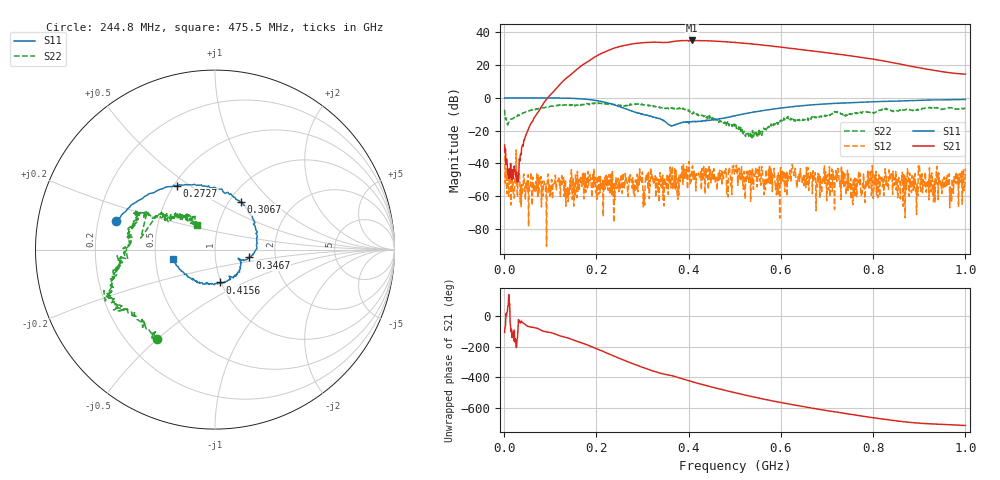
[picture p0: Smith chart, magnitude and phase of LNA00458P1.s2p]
! Created with skrf 1.9.0 (http://scikit-rf.org).
# Hz S RI R 50.0
!freq ReS11 ImS11 ReS21 ImS21 ReS12 ImS12 ReS22 ImS22
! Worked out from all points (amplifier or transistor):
!   1001 points, 1 MHz to 1 GHz, reference 50 ohm
!   highest |S21| = 35.0 dB at 406.6 MHz (marker M1)
!   |S21| within 3 dB of that: 262 MHz to 566.3 MHz (304.3 MHz wide, 73.5 % of centre) (the widest 1 of 2)
!   unconditionally stable (mu >= 1): 217.8 MHz to 293.5 MHz; 317.7 MHz to 388.5 MHz; 388.7 MHz to end of sweep (the widest 3 of 35)
!   at 166.8 MHz: K = 0.88, MSG = 34.0 dB, |S12| = -48.6 dB
!   at 500.5 MHz: K = 1.78, MAG = 34.3 dB, |S12| = -44.9 dB
!   at 1 GHz: K = 1.88, MAG = 23.4 dB, |S12| = -43.1 dB
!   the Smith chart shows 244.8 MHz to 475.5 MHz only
!   S11 on the Smith chart (normalised r, x): 244.8 MHz: 0.28, +0.13; 272.7 MHz: 0.52, +0.45; 306.7 MHz: 1.13, +0.66; 346.7 MHz: 1.47, -0.13; 415.6 MHz: 0.98, -0.37; 475.5 MHz: 0.61, -0.07
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1000000  0.9851 0.012  -0.0117 -0.0346  -0.0272 0.0135  0.3004 0.3134
1.09891e8  0.5133 -0.8512  -0.795 -1.529  -0.00266 0.000669  0.4454 -0.3719
1.67833e8  -0.2248 -0.9045  -9.603 -0.8001  0.00249 -0.000608  0.0565 -0.6321
2.11789e8  -0.6772 -0.3666  -15.57 17.01  0.000813 -0.00221  -0.1784 -0.6403
2.44756e8  -0.5521 0.1599  -0.2349 35.14  -0.00166 -0.000362  -0.3246 -0.4975
2.72728e8  -0.2114 0.3548  23.77 36.1  0.00283 -0.00305  -0.5562 -0.3215
3.06694e8  0.1425 0.2659  46.33 15.39  -0.00213 0.00271  -0.5736 -0.174
3.34666e8  0.2362 0.0354  49.23 -7.886  -0.00154 0.00335  -0.5192 -0.046
3.46654e8  0.1921 -0.0437  46.46 -15.38  -0.000431 -0.000263  -0.5035 5.36e-05
3.75625e8  0.1423 -0.0668  42.45 -34.24  -0.000291 0.000977  -0.4298 0.1806
4.06594e8  0.071 -0.1737  22.47 -51.84  0.000129 0.00441  -0.2976 0.2077
4.15585e8  0.026 -0.1831  15.49 -54.07  0.00139 -0.000442  -0.2816 0.1847
4.45555e8  -0.1242 -0.1685  -7.872 -54.02  0.000442 0.00333  -0.1614 0.1766
4.75525e8  -0.236 -0.055  -27.03 -44.58  0.00347 0.000234  -0.0976 0.1388
5.005e8  -0.2687 0.0734  -37.45 -32.29  -0.00218 -0.00528  -0.1202 0.0968
5.4046e8  -0.2339 0.2856  -42.43 -10.42  -0.0016 0.000235  -0.0624 -0.0209
5.88412e8  -0.0508 0.4617  -35.48 10.42  0.00123 -0.00104  -0.1385 -0.0689
6.25375e8  0.1177 0.5253  -25.45 19.07  0.00164 -0.00801  -0.1862 -0.0916
6.67333e8  0.3173 0.5225  -13.79 23.08  -0.00434 -0.00159  -0.2665 -0.0254
7.53247e8  0.6124 0.3691  3.372 18.63  -0.00166 0.00191  -0.3161 0.0412
8.34166e8  0.7704 0.1487  8.854 8.795  -0.00557 -0.0031  -0.42 0.0911
1e9  0.8135 -0.3785  5.248 0.7825  -0.00591 0.00368  -0.199 0.435
